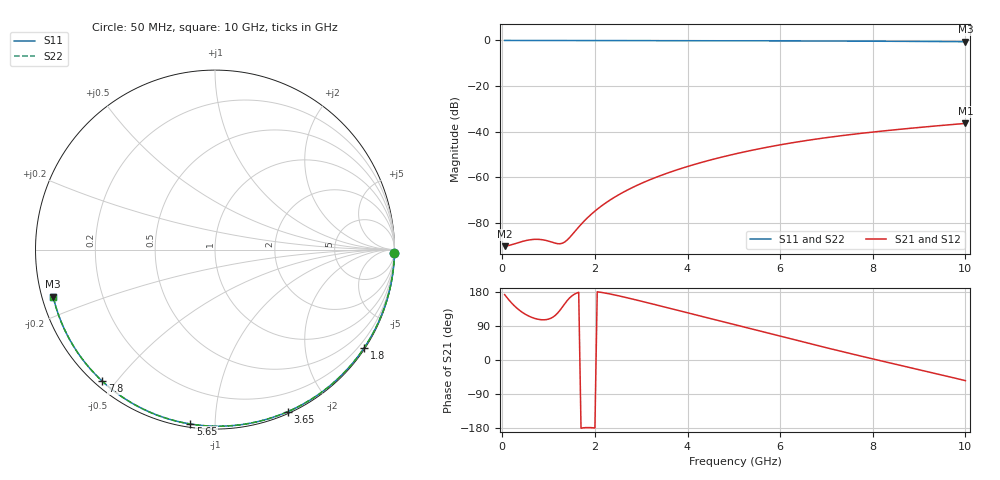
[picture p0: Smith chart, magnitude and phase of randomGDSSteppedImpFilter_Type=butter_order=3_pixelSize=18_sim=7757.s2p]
! freq	dB(S11)	phase(S11)	dB(S12)	phase(S12)
!  dB(S21)	phase(S21)	dB(S22)	phase(S22)
!S-par simulation data
#  GHz  S  DB  R 50
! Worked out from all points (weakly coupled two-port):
!   200 points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, 50 MHz to 10 GHz, reference 50 ohm
!   highest |S21| = -36.40 dB at 10 GHz (marker M1); lowest = -90.3 dB at 50 MHz (marker M2)
!   lowest |S11| = -0.5 dB at 10 GHz (marker M3), VSWR 31.77, Z = 1.61 - j7.1 ohm
!   |S11| at or under -10 dB: nowhere
!   |S22| runs from -0.5 to 0.0 dB; largest |S21 - S12| = 0
!   S11 on the Smith chart (normalised r, x): 50 MHz: open; 1.8 GHz: 0.03, -3.34; 3.65 GHz: 0.02, -1.55; 5.65 GHz: 0.02, -0.87; 7.8 GHz: 0.02, -0.46; 10 GHz: 0.03, -0.14
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0.05  -0.00 -0.9  -90.26 172.5  -90.26 172.5  -0.00 -0.9
0.45  -0.01 -8.5  -88.09 124.3  -88.09 124.3  -0.01 -8.5
0.85  -0.02 -15.9  -87.40 106.2  -87.40 106.2  -0.02 -15.9
1.7  -0.04 -31.5  -80.72 -179.9  -80.72 -179.9  -0.04 -31.5
1.75  -0.04 -32.4  -79.63 -178.9  -79.63 -178.9  -0.04 -32.4
1.8  -0.04 -33.3  -78.59 -178.4  -78.59 -178.4  -0.04 -33.3
1.95  -0.05 -36.0  -75.75 -178.8  -75.75 -178.8  -0.05 -36.0
2.1  -0.05 -38.7  -73.26 179.1  -73.26 179.1  -0.05 -38.7
2.45  -0.06 -45.0  -68.46 171.1  -68.46 171.1  -0.06 -45.0
2.9  -0.07 -52.9  -63.66 158.2  -63.66 158.2  -0.07 -52.9
3.4  -0.08 -61.5  -59.42 143.1  -59.42 143.1  -0.08 -61.5
3.65  -0.09 -65.7  -57.60 135.4  -57.60 135.4  -0.09 -65.7
4.35  -0.11 -77.3  -53.24 113.8  -53.24 113.8  -0.11 -77.3
5.05  -0.14 -88.6  -49.68 92.2  -49.68 92.2  -0.14 -88.6
5.65  -0.16 -98.1  -47.12 73.7  -47.12 73.7  -0.16 -98.1
6.15  -0.19 -105.8  -45.27 58.2  -45.27 58.2  -0.19 -105.8
6.7  -0.22 -114.1  -43.50 41.4  -43.50 41.4  -0.22 -114.1
7.25  -0.26 -122.4  -41.97 24.9  -41.97 24.9  -0.26 -122.4
7.8  -0.31 -130.5  -40.64 8.7  -40.64 8.7  -0.31 -130.5
8.35  -0.36 -138.7  -39.45 -7.1  -39.45 -7.1  -0.36 -138.7
9.2  -0.45 -151.5  -37.81 -31.2  -37.81 -31.2  -0.45 -151.5
10  -0.55 -163.8  -36.40 -54.5  -36.40 -54.5  -0.55 -163.8
